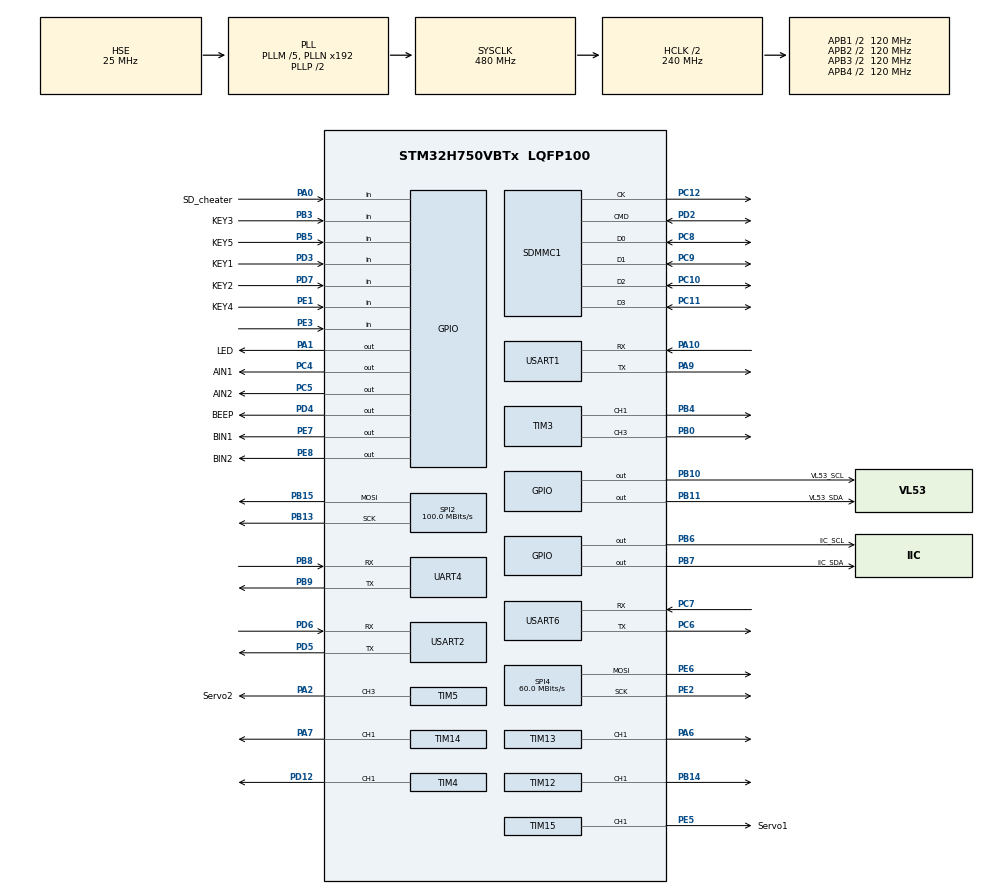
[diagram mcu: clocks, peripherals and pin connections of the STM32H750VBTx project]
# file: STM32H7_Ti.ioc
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Dma.Request0=USART2_RX
Dma.Request1=USART1_RX
Dma.Request2=UART4_RX
Dma.UART4_RX.2.Direction=DMA_PERIPH_TO_MEMORY
Dma.UART4_RX.2.EventEnable=DISABLE
Dma.UART4_RX.2.FIFOMode=DMA_FIFOMODE_DISABLE
Dma.UART4_RX.2.Instance=DMA1_Stream1
Dma.UART4_RX.2.MemDataAlignment=DMA_MDATAALIGN_BYTE
Dma.UART4_RX.2.MemInc=DMA_MINC_ENABLE
Dma.UART4_RX.2.Mode=DMA_CIRCULAR
Dma.UART4_RX.2.PeriphDataAlignment=DMA_PDATAALIGN_BYTE
Dma.UART4_RX.2.PeriphInc=DMA_PINC_DISABLE
Dma.UART4_RX.2.Polarity=HAL_DMAMUX_REQ_GEN_RISING
Dma.UART4_RX.2.Priority=DMA_PRIORITY_LOW
Dma.UART4_RX.2.RequestNumber=1
Dma.UART4_RX.2.SignalID=NONE
Dma.UART4_RX.2.SyncEnable=DISABLE
Dma.UART4_RX.2.SyncPolarity=HAL_DMAMUX_SYNC_NO_EVENT
Dma.UART4_RX.2.SyncRequestNumber=1
Dma.UART4_RX.2.SyncSignalID=NONE
Dma.USART1_RX.1.Direction=DMA_PERIPH_TO_MEMORY
Dma.USART1_RX.1.EventEnable=DISABLE
Dma.USART1_RX.1.FIFOMode=DMA_FIFOMODE_DISABLE
Dma.USART1_RX.1.Instance=DMA1_Stream0
Dma.USART1_RX.1.MemDataAlignment=DMA_MDATAALIGN_BYTE
Dma.USART1_RX.1.MemInc=DMA_MINC_ENABLE
Dma.USART1_RX.1.Mode=DMA_CIRCULAR
Dma.USART1_RX.1.PeriphDataAlignment=DMA_PDATAALIGN_BYTE
Dma.USART1_RX.1.PeriphInc=DMA_PINC_DISABLE
Dma.USART1_RX.1.Polarity=HAL_DMAMUX_REQ_GEN_RISING
Dma.USART1_RX.1.Priority=DMA_PRIORITY_HIGH
Dma.USART1_RX.1.RequestNumber=1
Dma.USART1_RX.1.SignalID=NONE
Dma.USART1_RX.1.SyncEnable=DISABLE
Dma.USART1_RX.1.SyncPolarity=HAL_DMAMUX_SYNC_NO_EVENT
Dma.USART1_RX.1.SyncRequestNumber=1
Dma.USART1_RX.1.SyncSignalID=NONE
Dma.USART2_RX.0.Direction=DMA_PERIPH_TO_MEMORY
Dma.USART2_RX.0.EventEnable=DISABLE
Dma.USART2_RX.0.FIFOMode=DMA_FIFOMODE_DISABLE
Dma.USART2_RX.0.Instance=DMA1_Stream2
Dma.USART2_RX.0.MemDataAlignment=DMA_MDATAALIGN_BYTE
Dma.USART2_RX.0.MemInc=DMA_MINC_ENABLE
Dma.USART2_RX.0.Mode=DMA_NORMAL
Dma.USART2_RX.0.PeriphDataAlignment=DMA_PDATAALIGN_BYTE
Dma.USART2_RX.0.PeriphInc=DMA_PINC_DISABLE
Dma.USART2_RX.0.Polarity=HAL_DMAMUX_REQ_GEN_RISING
Dma.USART2_RX.0.Priority=DMA_PRIORITY_LOW
Dma.USART2_RX.0.RequestNumber=1
Dma.USART2_RX.0.SignalID=NONE
Dma.USART2_RX.0.SyncEnable=DISABLE
Dma.USART2_RX.0.SyncPolarity=HAL_DMAMUX_SYNC_NO_EVENT
Dma.USART2_RX.0.SyncRequestNumber=1
Dma.USART2_RX.0.SyncSignalID=NONE
FATFS.BSP.number=1
FATFS._FS_EXFAT=1
FATFS._FS_TIMEOUT=300
FATFS._USE_LFN=3
FATFS0.BSP.STBoard=false
FATFS0.BSP.api=Unknown
FATFS0.BSP.instance=PA0
FATFS0.BSP.ip=GPIO
FATFS0.BSP.mode=Input
FATFS0.BSP.name=Detect_SDIO
FATFS0.BSP.solution=PA0
FREERTOS.Tasks01=defaultTask,0,256,StartDefaultTask,Default,NULL,Dynamic,NULL,NULL
FREERTOS.configENABLE_FPU=1
FREERTOS.configLIBRARY_MAX_SYSCALL_INTERRUPT_PRIORITY=5
FREERTOS.configMAX_PRIORITIES=10
FREERTOS.configMINIMAL_STACK_SIZE=256
FREERTOS.configTOTAL_HEAP_SIZE=81920
FREERTOS.configUSE_NEWLIB_REENTRANT=1
FREERTOS.configUSE_TICK_HOOK=1
Mcu.Family=STM32H7
Mcu.Name=STM32H750VBTx
Mcu.Package=LQFP100
Mdma.MDMA_Channel0.Request0=SDMMC1_END_DATA
Mdma.MDMA_Channel0.RequestsNb=1
Mdma.MDMA_Channel0.SDMMC1_END_DATA.0.BlockCount=0
Mdma.MDMA_Channel0.SDMMC1_END_DATA.0.BlockDataLength=0
Mdma.MDMA_Channel0.SDMMC1_END_DATA.0.BufferTransferLength=1
Mdma.MDMA_Channel0.SDMMC1_END_DATA.0.CircularMode=MDMA_LINEAR_LIST
Mdma.MDMA_Channel0.SDMMC1_END_DATA.0.DataAlignment=MDMA_DATAALIGN_PACKENABLE
Mdma.MDMA_Channel0.SDMMC1_END_DATA.0.DestBlockAddressOffset=0
Mdma.MDMA_Channel0.SDMMC1_END_DATA.0.DestBurst=MDMA_DEST_BURST_SINGLE
Mdma.MDMA_Channel0.SDMMC1_END_DATA.0.DestDataSize=MDMA_DEST_DATASIZE_BYTE
Mdma.MDMA_Channel0.SDMMC1_END_DATA.0.DestinationInc=MDMA_DEST_INC_BYTE
Mdma.MDMA_Channel0.SDMMC1_END_DATA.0.DstAddress=0
Mdma.MDMA_Channel0.SDMMC1_END_DATA.0.Endianness=MDMA_LITTLE_ENDIANNESS_PRESERVE
Mdma.MDMA_Channel0.SDMMC1_END_DATA.0.Instance=MDMA_Channel0
Mdma.MDMA_Channel0.SDMMC1_END_DATA.0.MaskAddress=0
Mdma.MDMA_Channel0.SDMMC1_END_DATA.0.MaskData=0
Mdma.MDMA_Channel0.SDMMC1_END_DATA.0.Priority=MDMA_PRIORITY_LOW
Mdma.MDMA_Channel0.SDMMC1_END_DATA.0.Rank=First
Mdma.MDMA_Channel0.SDMMC1_END_DATA.0.SourceBlockAddressOffset=0
Mdma.MDMA_Channel0.SDMMC1_END_DATA.0.SourceBurst=MDMA_SOURCE_BURST_SINGLE
Mdma.MDMA_Channel0.SDMMC1_END_DATA.0.SourceDataSize=MDMA_SRC_DATASIZE_BYTE
Mdma.MDMA_Channel0.SDMMC1_END_DATA.0.SourceInc=MDMA_SRC_INC_BYTE
Mdma.MDMA_Channel0.SDMMC1_END_DATA.0.SrcAddress=0
Mdma.MDMA_Channel0.SDMMC1_END_DATA.0.TransferTriggerMode=MDMA_BUFFER_TRANSFER
Mdma.RequestSet0=MDMA_Channel0
Mdma.RequestSetsNb=1
NVIC.DMA1_Stream0_IRQn=true\:5\:0\:false\:false\:true\:true\:false\:true\:true
NVIC.DMA1_Stream1_IRQn=true\:5\:0\:false\:false\:true\:true\:false\:true\:true
NVIC.DMA1_Stream2_IRQn=true\:5\:0\:false\:false\:true\:true\:false\:true\:true
NVIC.MDMA_IRQn=true\:6\:0\:true\:false\:true\:true\:true\:true\:true
NVIC.PriorityGroup=NVIC_PRIORITYGROUP_4
NVIC.SDMMC1_IRQn=true\:7\:0\:true\:false\:true\:true\:true\:true\:true
PA0.GPIO_Label=SD_cheater
PA0.GPIO_PuPd=GPIO_PULLDOWN
PA0.Signal=GPIO_Input
PA1.GPIO_Label=LED
PA1.GPIO_PuPd=GPIO_NOPULL
PA1.PinState=GPIO_PIN_SET
PA1.Signal=GPIO_Output
PA10.Mode=Asynchronous
PA10.Signal=USART1_RX
PA13\ (JTMS/SWDIO).Mode=Serial_Wire
PA13\ (JTMS/SWDIO).Signal=DEBUG_JTMS-SWDIO
PA14\ (JTCK/SWCLK).Mode=Serial_Wire
PA14\ (JTCK/SWCLK).Signal=DEBUG_JTCK-SWCLK
PA2.GPIO_Label=Servo2
PA2.Signal=S_TIM5_CH3
PA6.Signal=S_TIM13_CH1
PA7.Signal=S_TIM14_CH1
PA9.Mode=Asynchronous
PA9.Signal=USART1_TX
PB0.Signal=S_TIM3_CH3
PB10.GPIO_Label=VL53_SCL
PB10.GPIO_ModeDefaultOutputPP=GPIO_MODE_OUTPUT_OD
PB10.GPIO_PuPd=GPIO_PULLUP
PB10.GPIO_Speed=GPIO_SPEED_FREQ_HIGH
PB10.Signal=GPIO_Output
PB11.GPIO_Label=VL53_SDA
PB11.GPIO_ModeDefaultOutputPP=GPIO_MODE_OUTPUT_OD
PB11.GPIO_PuPd=GPIO_PULLUP
PB11.GPIO_Speed=GPIO_SPEED_FREQ_HIGH
PB11.Signal=GPIO_Output
PB13.Mode=TX_Only_Simplex_Unidirect_Master
PB13.Signal=SPI2_SCK
PB14.Signal=S_TIM12_CH1
PB15.Mode=TX_Only_Simplex_Unidirect_Master
PB15.Signal=SPI2_MOSI
PB3\ (JTDO/TRACESWO).GPIO_Label=KEY3
PB3\ (JTDO/TRACESWO).GPIO_PuPd=GPIO_PULLUP
PB3\ (JTDO/TRACESWO).Signal=GPIO_Input
PB4\ (NJTRST).Signal=S_TIM3_CH1
PB5.GPIO_Label=KEY5
PB5.GPIO_PuPd=GPIO_PULLUP
PB5.Signal=GPIO_Input
PB6.GPIO_Label=IIC_SCL
PB6.Signal=GPIO_Output
PB7.GPIO_Label=IIC_SDA
PB7.Signal=GPIO_Output
PB8.Mode=Asynchronous
PB8.Signal=UART4_RX
PB9.Mode=Asynchronous
PB9.Signal=UART4_TX
PC10.Mode=SD_4_bits_Wide_bus
PC10.Signal=SDMMC1_D2
PC11.Mode=SD_4_bits_Wide_bus
PC11.Signal=SDMMC1_D3
PC12.GPIO_PuPd=GPIO_PULLUP
PC12.Mode=SD_4_bits_Wide_bus
PC12.Signal=SDMMC1_CK
PC4.GPIO_Label=AIN1
PC4.Signal=GPIO_Output
PC5.GPIO_Label=AIN2
PC5.Signal=GPIO_Output
PC6.Mode=Asynchronous
PC6.Signal=USART6_TX
PC7.Mode=Asynchronous
PC7.Signal=USART6_RX
PC8.GPIO_PuPd=GPIO_PULLUP
PC8.Mode=SD_4_bits_Wide_bus
PC8.Signal=SDMMC1_D0
PC9.Mode=SD_4_bits_Wide_bus
PC9.Signal=SDMMC1_D1
PD12.Signal=S_TIM4_CH1
PD2.GPIO_PuPd=GPIO_PULLUP
PD2.Mode=SD_4_bits_Wide_bus
PD2.Signal=SDMMC1_CMD
PD3.GPIO_Label=KEY1
PD3.GPIO_PuPd=GPIO_PULLUP
PD3.Signal=GPIO_Input
PD4.GPIO_Label=BEEP
PD4.Signal=GPIO_Output
PD5.Mode=Asynchronous
PD5.Signal=USART2_TX
PD6.Mode=Asynchronous
PD6.Signal=USART2_RX
PD7.GPIO_Label=KEY2
PD7.GPIO_PuPd=GPIO_PULLUP
PD7.Signal=GPIO_Input
PE1.GPIO_Label=KEY4
PE1.GPIO_PuPd=GPIO_PULLUP
PE1.Signal=GPIO_Input
PE2.Mode=TX_Only_Simplex_Unidirect_Master
PE2.Signal=SPI4_SCK
PE3.Signal=GPIO_Input
PE5.GPIO_Label=Servo1
PE5.Signal=S_TIM15_CH1
PE6.Mode=TX_Only_Simplex_Unidirect_Master
PE6.Signal=SPI4_MOSI
PE7.GPIO_Label=BIN1
PE7.Signal=GPIO_Output
PE8.GPIO_Label=BIN2
PE8.Signal=GPIO_Output
PH0-OSC_IN\ (PH0).Mode=HSE-External-Oscillator
PH0-OSC_IN\ (PH0).Signal=RCC_OSC_IN
PH1-OSC_OUT\ (PH1).Mode=HSE-External-Oscillator
PH1-OSC_OUT\ (PH1).Signal=RCC_OSC_OUT
ProjectManager.HeapSize=0x4000
ProjectManager.StackSize=0x4000
ProjectManager.TargetToolchain=STM32CubeIDE
RCC.ADCFreq_Value=200000000
RCC.APB1Freq_Value=120000000
RCC.APB2Freq_Value=120000000
RCC.APB3Freq_Value=120000000
RCC.APB4Freq_Value=120000000
RCC.CortexFreq_Value=480000000
RCC.D1PPRE=RCC_APB3_DIV2
RCC.D2PPRE1=RCC_APB1_DIV2
RCC.D2PPRE2=RCC_APB2_DIV2
RCC.D3PPRE=RCC_APB4_DIV2
RCC.DATA_CACHE_ENABLE=0
RCC.DIVM1=5
RCC.DIVM2=8
RCC.DIVM3=8
RCC.DIVN1=192
RCC.DIVN2=128
RCC.DIVN3=128
RCC.DIVR1=4
RCC.HCLKFreq_Value=240000000
RCC.HPRE=RCC_HCLK_DIV2
RCC.HSE_VALUE=25000000
RCC.INSTRUCTION_CACHE_ENABLE=0
RCC.PLL1_VCI_Range-AdvancedSettings=RCC_PLL1VCIRANGE_0
RCC.PLL2_VCI_Range-AdvancedSettings=RCC_PLL2VCIRANGE_0
RCC.PLLSourceVirtual=RCC_PLLSOURCE_HSE
RCC.PREFETCH_ENABLE=1
RCC.ProductRev=revV
RCC.SDMMC1CLockSelection=RCC_SDMMCCLKSOURCE_PLL2
RCC.SPI123CLockSelection=RCC_SPI123CLKSOURCE_PLL2
RCC.SYSCLKFreq_VALUE=480000000
RCC.SYSCLKSource=RCC_SYSCLKSOURCE_PLLCLK
RCC.USART16CLockSelection=RCC_USART16CLKSOURCE_HSI
RCC.USBCLockSelection=RCC_USBCLKSOURCE_HSI48
RCC.USBFreq_Value=48000000
SDMMC1.ClockDiv=0
SDMMC1.HardwareFlowControl=SDMMC_HARDWARE_FLOW_CONTROL_DISABLE
SH.S_TIM12_CH1.0=TIM12_CH1,PWM Generation1 CH1
SH.S_TIM13_CH1.0=TIM13_CH1,PWM Generation1 CH1
SH.S_TIM14_CH1.0=TIM14_CH1,PWM Generation1 CH1
SH.S_TIM15_CH1.0=TIM15_CH1,PWM Generation1 CH1
SH.S_TIM3_CH1.0=TIM3_CH1,PWM Generation1 CH1
SH.S_TIM3_CH3.0=TIM3_CH3,PWM Generation3 CH3
SH.S_TIM4_CH1.0=TIM4_CH1,PWM Generation1 CH1
SH.S_TIM5_CH3.0=TIM5_CH3,PWM Generation3 CH3
SPI2.CalculateBaudRate=100.0 MBits/s
SPI2.Direction=SPI_DIRECTION_2LINES_TXONLY
SPI2.Mode=SPI_MODE_MASTER
SPI2.VirtualType=VM_MASTER
SPI4.CalculateBaudRate=60.0 MBits/s
SPI4.Direction=SPI_DIRECTION_2LINES_TXONLY
SPI4.Mode=SPI_MODE_MASTER
SPI4.VirtualType=VM_MASTER
TIM12.Channel-PWM\ Generation1\ CH1=TIM_CHANNEL_1
TIM13.Channel=TIM_CHANNEL_1
TIM14.Channel=TIM_CHANNEL_1
TIM15.Channel-PWM\ Generation1\ CH1=TIM_CHANNEL_1
TIM15.Period=20000-1
TIM15.Prescaler=60-1
TIM3.Channel-PWM\ Generation1\ CH1=TIM_CHANNEL_1
TIM3.Channel-PWM\ Generation3\ CH3=TIM_CHANNEL_3
TIM4.Channel-PWM\ Generation1\ CH1=TIM_CHANNEL_1
TIM5.Channel-PWM\ Generation3\ CH3=TIM_CHANNEL_3
TIM5.Period=200000-1
TIM5.Prescaler=6-1
USART1.VirtualMode-Asynchronous=VM_ASYNC
USART2.VirtualMode-Asynchronous=VM_ASYNC
USART6.VirtualMode=VM_ASYNC
VP_CRC_VS_CRC.Mode=CRC_Activate
VP_FATFS_VS_SDIO.Mode=SDIO
VP_FREERTOS_VS_CMSIS_V1.Mode=CMSIS_V1
VP_TIM13_VS_ClockSourceINT.Mode=Enable_Timer
VP_TIM14_VS_ClockSourceINT.Mode=Enable_Timer
board=custom

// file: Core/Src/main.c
/* USER CODE BEGIN Header */
/**
  ******************************************************************************
  * @file           : main.c
  * @brief          : Main program body
  ******************************************************************************
  * @attention
  *
  * Copyright (c) 2023 STMicroelectronics.
  * All rights reserved.
  *
  * This software is licensed under terms that can be found in the LICENSE file
  * in the root directory of tprintMutex = xSemaphoreCreateMutex();his software component.
  * If no LICENSE file comes with this software, it is provided AS-IS.
  *
  ******************************************************************************
  */
/* USER CODE END Header */
#include "main.h"
#include "cmsis_os.h"
#include "fatfs.h"

CRC_HandleTypeDef hcrc;

SD_HandleTypeDef hsd1;

SPI_HandleTypeDef hspi2;
SPI_HandleTypeDef hspi4;

TIM_HandleTypeDef htim3;
TIM_HandleTypeDef htim4;
TIM_HandleTypeDef htim5;
TIM_HandleTypeDef htim12;
TIM_HandleTypeDef htim13;
TIM_HandleTypeDef htim14;
TIM_HandleTypeDef htim15;

UART_HandleTypeDef huart4;
UART_HandleTypeDef huart1;
UART_HandleTypeDef huart2;
UART_HandleTypeDef huart6;
DMA_HandleTypeDef hdma_uart4_rx;
DMA_HandleTypeDef hdma_usart1_rx;
DMA_HandleTypeDef hdma_usart2_rx;

MDMA_HandleTypeDef hmdma_mdma_channel40_sdmmc1_end_data_0;
osThreadId defaultTaskHandle;
/* USER CODE BEGIN PV */

osMutexDef(printfMutex);
osMutexId printfMutex;
osMutexDef(SPI1Mutex);
osMutexId SPI1Mutex;
/* USER CODE END PV */

void SystemClock_Config(void);
void PeriphCommonClock_Config(void);
static void MX_GPIO_Init(void);
static void MX_MDMA_Init(void);
static void MX_DMA_Init(void);
static void MX_SDMMC1_SD_Init(void);
static void MX_CRC_Init(void);
static void MX_TIM3_Init(void);
static void MX_TIM4_Init(void);
static void MX_SPI2_Init(void);
static void MX_SPI4_Init(void);
static void MX_TIM5_Init(void);
static void MX_TIM12_Init(void);
static void MX_TIM13_Init(void);
static void MX_TIM14_Init(void);
static void MX_UART4_Init(void);
static void MX_USART2_UART_Init(void);
static void MX_USART6_UART_Init(void);
static void MX_USART1_UART_Init(void);
static void MX_TIM15_Init(void);
void StartDefaultTask(void const * argument);

/* USER CODE BEGIN PFP */
void LEDBlink(void const *argument);

void ReceiveTask(void const *argument);

void ServoControlTask(void const *argument);

void ButtonTask(void const *argument);

void BEEPLEDTask(void const *argument);

/* USER CODE END PFP */

/* USER CODE BEGIN 0 */
osThreadDef(LEDBlink, LEDBlink, osPriorityNormal, 0, 128 * 2);
osThreadId LEDBlinkHandle;
osThreadDef(ReceiveTask, ReceiveTask, osPriorityAboveNormal, 0, 2048);
osThreadId ReceiveTaskHandle;
osThreadDef(ServoControlTask, ServoControlTask, osPriorityHigh, 0, 1024);
osThreadId ServoControlTaskHandle;
osThreadDef(ButtonTask, ButtonTask, osPriorityHigh, 0, 512);
osThreadId ButtonTaskHandle;
osThreadDef(BEEPLEDTask, BEEPLEDTask, osPriorityNormal, 0, 512);
osThreadId BEEPLEDTaskHandle;

void LEDBlink(void const *argument) {

    for (;;) {

        HAL_GPIO_TogglePin(LED_GPIO_Port, LED_Pin);
        osDelay(500);
    }
}

/* USER CODE END 0 */

int main(void)
{

  /* MCU Configuration--------------------------------------------------------*/

  /* Reset of all peripherals, Initializes the Flash interface and the Systick. */
  HAL_Init();

  /* Configure the system clock */
  SystemClock_Config();

/* Configure the peripherals common clocks */
  PeriphCommonClock_Config();

  /* Initialize all configured peripherals */
  MX_GPIO_Init();
  MX_MDMA_Init();
  MX_DMA_Init();
  MX_FATFS_Init();
  MX_SDMMC1_SD_Init();
  MX_CRC_Init();
  MX_TIM3_Init();
  MX_TIM4_Init();
  MX_SPI2_Init();
  MX_SPI4_Init();
  MX_TIM5_Init();
  MX_TIM12_Init();
  MX_TIM13_Init();
  MX_TIM14_Init();
  MX_UART4_Init();
  MX_USART2_UART_Init();
  MX_USART6_UART_Init();
  MX_USART1_UART_Init();
  MX_TIM15_Init();

  /* USER CODE BEGIN RTOS_MUTEX */
    /* add mutexes, ... */
    printfMutex = osMutexCreate(osMutex(printfMutex));
    SPI1Mutex = osMutexCreate(osMutex(SPI1Mutex));
  /* USER CODE END RTOS_MUTEX */

  /* Create the thread(s) */
  /* definition and creation of defaultTask */
  osThreadDef(defaultTask, StartDefaultTask, osPriorityNormal, 0, 256);
  defaultTaskHandle = osThreadCreate(osThread(defaultTask), NULL);

  /* Start scheduler */
  osKernelStart();
  /* We should never get here as control is now taken by the scheduler */
  /* Infinite loop */
    while (1) {

    }
}

void SystemClock_Config(void)
{
  RCC_OscInitTypeDef RCC_OscInitStruct = {0};
  RCC_ClkInitTypeDef RCC_ClkInitStruct = {0};

  /** Supply configuration update enable
  */
  HAL_PWREx_ConfigSupply(PWR_LDO_SUPPLY);

  /** Configure the main internal regulator output voltage
  */
  __HAL_PWR_VOLTAGESCALING_CONFIG(PWR_REGULATOR_VOLTAGE_SCALE1);

  while(!__HAL_PWR_GET_FLAG(PWR_FLAG_VOSRDY)) {}

  __HAL_RCC_SYSCFG_CLK_ENABLE();
  __HAL_PWR_VOLTAGESCALING_CONFIG(PWR_REGULATOR_VOLTAGE_SCALE0);

  while(!__HAL_PWR_GET_FLAG(PWR_FLAG_VOSRDY)) {}

  /** Initializes the RCC Oscillators according to the specified parameters
  * in the RCC_OscInitTypeDef structure.
  */
  RCC_OscInitStruct.OscillatorType = RCC_OSCILLATORTYPE_HSI|RCC_OSCILLATORTYPE_HSE;
  RCC_OscInitStruct.HSEState = RCC_HSE_ON;
  RCC_OscInitStruct.HSIState = RCC_HSI_DIV1;
  RCC_OscInitStruct.HSICalibrationValue = RCC_HSICALIBRATION_DEFAULT;
  RCC_OscInitStruct.PLL.PLLState = RCC_PLL_ON;
  RCC_OscInitStruct.PLL.PLLSource = RCC_PLLSOURCE_HSE;
  RCC_OscInitStruct.PLL.PLLM = 5;
  RCC_OscInitStruct.PLL.PLLN = 192;
  RCC_OscInitStruct.PLL.PLLP = 2;
  RCC_OscInitStruct.PLL.PLLQ = 2;
  RCC_OscInitStruct.PLL.PLLR = 4;
  RCC_OscInitStruct.PLL.PLLRGE = RCC_PLL1VCIRANGE_2;
  RCC_OscInitStruct.PLL.PLLVCOSEL = RCC_PLL1VCOWIDE;
  RCC_OscInitStruct.PLL.PLLFRACN = 0;
  if (HAL_RCC_OscConfig(&RCC_OscInitStruct) != HAL_OK)
  {
    Error_Handler();
  }

  /** Initializes the CPU, AHB and APB buses clocks
  */
  RCC_ClkInitStruct.ClockType = RCC_CLOCKTYPE_HCLK|RCC_CLOCKTYPE_SYSCLK
                              |RCC_CLOCKTYPE_PCLK1|RCC_CLOCKTYPE_PCLK2
                              |RCC_CLOCKTYPE_D3PCLK1|RCC_CLOCKTYPE_D1PCLK1;
  RCC_ClkInitStruct.SYSCLKSource = RCC_SYSCLKSOURCE_PLLCLK;
  RCC_ClkInitStruct.SYSCLKDivider = RCC_SYSCLK_DIV1;
  RCC_ClkInitStruct.AHBCLKDivider = RCC_HCLK_DIV2;
  RCC_ClkInitStruct.APB3CLKDivider = RCC_APB3_DIV2;
  RCC_ClkInitStruct.APB1CLKDivider = RCC_APB1_DIV2;
  RCC_ClkInitStruct.APB2CLKDivider = RCC_APB2_DIV2;
  RCC_ClkInitStruct.APB4CLKDivider = RCC_APB4_DIV2;

  if (HAL_RCC_ClockConfig(&RCC_ClkInitStruct, FLASH_LATENCY_4) != HAL_OK)
  {
    Error_Handler();
  }
}

void PeriphCommonClock_Config(void)
{
  RCC_PeriphCLKInitTypeDef PeriphClkInitStruct = {0};

  /** Initializes the peripherals clock
  */
  PeriphClkInitStruct.PeriphClockSelection = RCC_PERIPHCLK_SDMMC|RCC_PERIPHCLK_SPI2;
  PeriphClkInitStruct.PLL2.PLL2M = 8;
  PeriphClkInitStruct.PLL2.PLL2N = 128;
  PeriphClkInitStruct.PLL2.PLL2P = 2;
  PeriphClkInitStruct.PLL2.PLL2Q = 2;
  PeriphClkInitStruct.PLL2.PLL2R = 2;
  PeriphClkInitStruct.PLL2.PLL2RGE = RCC_PLL2VCIRANGE_1;
  PeriphClkInitStruct.PLL2.PLL2VCOSEL = RCC_PLL2VCOWIDE;
  PeriphClkInitStruct.PLL2.PLL2FRACN = 0;
  PeriphClkInitStruct.SdmmcClockSelection = RCC_SDMMCCLKSOURCE_PLL2;
  PeriphClkInitStruct.Spi123ClockSelection = RCC_SPI123CLKSOURCE_PLL2;
  if (HAL_RCCEx_PeriphCLKConfig(&PeriphClkInitStruct) != HAL_OK)
  {
    Error_Handler();
  }
}

static void MX_CRC_Init(void)
{

  hcrc.Instance = CRC;
  hcrc.Init.DefaultPolynomialUse = DEFAULT_POLYNOMIAL_ENABLE;
  hcrc.Init.DefaultInitValueUse = DEFAULT_INIT_VALUE_ENABLE;
  hcrc.Init.InputDataInversionMode = CRC_INPUTDATA_INVERSION_NONE;
  hcrc.Init.OutputDataInversionMode = CRC_OUTPUTDATA_INVERSION_DISABLE;
  hcrc.InputDataFormat = CRC_INPUTDATA_FORMAT_BYTES;
  if (HAL_CRC_Init(&hcrc) != HAL_OK)
  {
    Error_Handler();
  }

}

static void MX_SDMMC1_SD_Init(void)
{

  hsd1.Instance = SDMMC1;
  hsd1.Init.ClockEdge = SDMMC_CLOCK_EDGE_RISING;
  hsd1.Init.ClockPowerSave = SDMMC_CLOCK_POWER_SAVE_DISABLE;
  hsd1.Init.BusWide = SDMMC_BUS_WIDE_4B;
  hsd1.Init.HardwareFlowControl = SDMMC_HARDWARE_FLOW_CONTROL_DISABLE;
  hsd1.Init.ClockDiv = 0;

}

static void MX_SPI2_Init(void)
{

  /* SPI2 parameter configuration*/
  hspi2.Instance = SPI2;
  hspi2.Init.Mode = SPI_MODE_MASTER;
  hspi2.Init.Direction = SPI_DIRECTION_2LINES_TXONLY;
  hspi2.Init.DataSize = SPI_DATASIZE_4BIT;
  hspi2.Init.CLKPolarity = SPI_POLARITY_LOW;
  hspi2.Init.CLKPhase = SPI_PHASE_1EDGE;
  hspi2.Init.NSS = SPI_NSS_SOFT;
  hspi2.Init.BaudRatePrescaler = SPI_BAUDRATEPRESCALER_2;
  hspi2.Init.FirstBit = SPI_FIRSTBIT_MSB;
  hspi2.Init.TIMode = SPI_TIMODE_DISABLE;
  hspi2.Init.CRCCalculation = SPI_CRCCALCULATION_DISABLE;
  hspi2.Init.CRCPolynomial = 0x0;
  hspi2.Init.NSSPMode = SPI_NSS_PULSE_ENABLE;
  hspi2.Init.NSSPolarity = SPI_NSS_POLARITY_LOW;
  hspi2.Init.FifoThreshold = SPI_FIFO_THRESHOLD_01DATA;
  hspi2.Init.TxCRCInitializationPattern = SPI_CRC_INITIALIZATION_ALL_ZERO_PATTERN;
  hspi2.Init.RxCRCInitializationPattern = SPI_CRC_INITIALIZATION_ALL_ZERO_PATTERN;
  hspi2.Init.MasterSSIdleness = SPI_MASTER_SS_IDLENESS_00CYCLE;
  hspi2.Init.MasterInterDataIdleness = SPI_MASTER_INTERDATA_IDLENESS_00CYCLE;
  hspi2.Init.MasterReceiverAutoSusp = SPI_MASTER_RX_AUTOSUSP_DISABLE;
  hspi2.Init.MasterKeepIOState = SPI_MASTER_KEEP_IO_STATE_DISABLE;
  hspi2.Init.IOSwap = SPI_IO_SWAP_DISABLE;
  if (HAL_SPI_Init(&hspi2) != HAL_OK)
  {
    Error_Handler();
  }

}

static void MX_SPI4_Init(void)
{

  /* SPI4 parameter configuration*/
  hspi4.Instance = SPI4;
  hspi4.Init.Mode = SPI_MODE_MASTER;
  hspi4.Init.Direction = SPI_DIRECTION_2LINES_TXONLY;
  hspi4.Init.DataSize = SPI_DATASIZE_4BIT;
  hspi4.Init.CLKPolarity = SPI_POLARITY_LOW;
  hspi4.Init.CLKPhase = SPI_PHASE_1EDGE;
  hspi4.Init.NSS = SPI_NSS_SOFT;
  hspi4.Init.BaudRatePrescaler = SPI_BAUDRATEPRESCALER_2;
  hspi4.Init.FirstBit = SPI_FIRSTBIT_MSB;
  hspi4.Init.TIMode = SPI_TIMODE_DISABLE;
  hspi4.Init.CRCCalculation = SPI_CRCCALCULATION_DISABLE;
  hspi4.Init.CRCPolynomial = 0x0;
  hspi4.Init.NSSPMode = SPI_NSS_PULSE_ENABLE;
  hspi4.Init.NSSPolarity = SPI_NSS_POLARITY_LOW;
  hspi4.Init.FifoThreshold = SPI_FIFO_THRESHOLD_01DATA;
  hspi4.Init.TxCRCInitializationPattern = SPI_CRC_INITIALIZATION_ALL_ZERO_PATTERN;
  hspi4.Init.RxCRCInitializationPattern = SPI_CRC_INITIALIZATION_ALL_ZERO_PATTERN;
  hspi4.Init.MasterSSIdleness = SPI_MASTER_SS_IDLENESS_00CYCLE;
  hspi4.Init.MasterInterDataIdleness = SPI_MASTER_INTERDATA_IDLENESS_00CYCLE;
  hspi4.Init.MasterReceiverAutoSusp = SPI_MASTER_RX_AUTOSUSP_DISABLE;
  hspi4.Init.MasterKeepIOState = SPI_MASTER_KEEP_IO_STATE_DISABLE;
  hspi4.Init.IOSwap = SPI_IO_SWAP_DISABLE;
  if (HAL_SPI_Init(&hspi4) != HAL_OK)
  {
    Error_Handler();
  }

}

static void MX_TIM3_Init(void)
{

  TIM_MasterConfigTypeDef sMasterConfig = {0};
  TIM_OC_InitTypeDef sConfigOC = {0};

  htim3.Instance = TIM3;
  htim3.Init.Prescaler = 0;
  htim3.Init.CounterMode = TIM_COUNTERMODE_UP;
  htim3.Init.Period = 65535;
  htim3.Init.ClockDivision = TIM_CLOCKDIVISION_DIV1;
  htim3.Init.AutoReloadPreload = TIM_AUTORELOAD_PRELOAD_DISABLE;
  if (HAL_TIM_PWM_Init(&htim3) != HAL_OK)
  {
    Error_Handler();
  }
  sMasterConfig.MasterOutputTrigger = TIM_TRGO_RESET;
  sMasterConfig.MasterSlaveMode = TIM_MASTERSLAVEMODE_DISABLE;
  if (HAL_TIMEx_MasterConfigSynchronization(&htim3, &sMasterConfig) != HAL_OK)
  {
    Error_Handler();
  }
  sConfigOC.OCMode = TIM_OCMODE_PWM1;
  sConfigOC.Pulse = 0;
  sConfigOC.OCPolarity = TIM_OCPOLARITY_HIGH;
  sConfigOC.OCFastMode = TIM_OCFAST_DISABLE;
  if (HAL_TIM_PWM_ConfigChannel(&htim3, &sConfigOC, TIM_CHANNEL_1) != HAL_OK)
  {
    Error_Handler();
  }
  if (HAL_TIM_PWM_ConfigChannel(&htim3, &sConfigOC, TIM_CHANNEL_3) != HAL_OK)
  {
    Error_Handler();
  }
  HAL_TIM_MspPostInit(&htim3);

}

static void MX_TIM4_Init(void)
{

  TIM_MasterConfigTypeDef sMasterConfig = {0};
  TIM_OC_InitTypeDef sConfigOC = {0};

  htim4.Instance = TIM4;
  htim4.Init.Prescaler = 0;
  htim4.Init.CounterMode = TIM_COUNTERMODE_UP;
  htim4.Init.Period = 65535;
  htim4.Init.ClockDivision = TIM_CLOCKDIVISION_DIV1;
  htim4.Init.AutoReloadPreload = TIM_AUTORELOAD_PRELOAD_DISABLE;
  if (HAL_TIM_PWM_Init(&htim4) != HAL_OK)
  {
    Error_Handler();
  }
  sMasterConfig.MasterOutputTrigger = TIM_TRGO_RESET;
  sMasterConfig.MasterSlaveMode = TIM_MASTERSLAVEMODE_DISABLE;
  if (HAL_TIMEx_MasterConfigSynchronization(&htim4, &sMasterConfig) != HAL_OK)
  {
    Error_Handler();
  }
  sConfigOC.OCMode = TIM_OCMODE_PWM1;
  sConfigOC.Pulse = 0;
  sConfigOC.OCPolarity = TIM_OCPOLARITY_HIGH;
  sConfigOC.OCFastMode = TIM_OCFAST_DISABLE;
  if (HAL_TIM_PWM_ConfigChannel(&htim4, &sConfigOC, TIM_CHANNEL_1) != HAL_OK)
  {
    Error_Handler();
  }
  HAL_TIM_MspPostInit(&htim4);

}

static void MX_TIM5_Init(void)
{

  TIM_MasterConfigTypeDef sMasterConfig = {0};
  TIM_OC_InitTypeDef sConfigOC = {0};

  htim5.Instance = TIM5;
  htim5.Init.Prescaler = 6-1;
  htim5.Init.CounterMode = TIM_COUNTERMODE_UP;
  htim5.Init.Period = 200000-1;
  htim5.Init.ClockDivision = TIM_CLOCKDIVISION_DIV1;
  htim5.Init.AutoReloadPreload = TIM_AUTORELOAD_PRELOAD_DISABLE;
  if (HAL_TIM_PWM_Init(&htim5) != HAL_OK)
  {
    Error_Handler();
  }
  sMasterConfig.MasterOutputTrigger = TIM_TRGO_RESET;
  sMasterConfig.MasterSlaveMode = TIM_MASTERSLAVEMODE_DISABLE;
  if (HAL_TIMEx_MasterConfigSynchronization(&htim5, &sMasterConfig) != HAL_OK)
  {
    Error_Handler();
  }
  sConfigOC.OCMode = TIM_OCMODE_PWM1;
  sConfigOC.Pulse = 0;
  sConfigOC.OCPolarity = TIM_OCPOLARITY_HIGH;
  sConfigOC.OCFastMode = TIM_OCFAST_DISABLE;
  if (HAL_TIM_PWM_ConfigChannel(&htim5, &sConfigOC, TIM_CHANNEL_3) != HAL_OK)
  {
    Error_Handler();
  }
  HAL_TIM_MspPostInit(&htim5);

}

static void MX_TIM12_Init(void)
{

  TIM_MasterConfigTypeDef sMasterConfig = {0};
  TIM_OC_InitTypeDef sConfigOC = {0};

  htim12.Instance = TIM12;
  htim12.Init.Prescaler = 0;
  htim12.Init.CounterMode = TIM_COUNTERMODE_UP;
  htim12.Init.Period = 65535;
  htim12.Init.ClockDivision = TIM_CLOCKDIVISION_DIV1;
  htim12.Init.AutoReloadPreload = TIM_AUTORELOAD_PRELOAD_DISABLE;
  if (HAL_TIM_PWM_Init(&htim12) != HAL_OK)
  {
    Error_Handler();
  }
  sMasterConfig.MasterOutputTrigger = TIM_TRGO_RESET;
  sMasterConfig.MasterSlaveMode = TIM_MASTERSLAVEMODE_DISABLE;
  if (HAL_TIMEx_MasterConfigSynchronization(&htim12, &sMasterConfig) != HAL_OK)
  {
    Error_Handler();
  }
  sConfigOC.OCMode = TIM_OCMODE_PWM1;
  sConfigOC.Pulse = 0;
  sConfigOC.OCPolarity = TIM_OCPOLARITY_HIGH;
  sConfigOC.OCFastMode = TIM_OCFAST_DISABLE;
  if (HAL_TIM_PWM_ConfigChannel(&htim12, &sConfigOC, TIM_CHANNEL_1) != HAL_OK)
  {
    Error_Handler();
  }
  HAL_TIM_MspPostInit(&htim12);

}

static void MX_TIM13_Init(void)
{

  TIM_OC_InitTypeDef sConfigOC = {0};

  htim13.Instance = TIM13;
  htim13.Init.Prescaler = 0;
  htim13.Init.CounterMode = TIM_COUNTERMODE_UP;
  htim13.Init.Period = 65535;
  htim13.Init.ClockDivision = TIM_CLOCKDIVISION_DIV1;
  htim13.Init.AutoReloadPreload = TIM_AUTORELOAD_PRELOAD_DISABLE;
  if (HAL_TIM_Base_Init(&htim13) != HAL_OK)
  {
    Error_Handler();
  }
  if (HAL_TIM_PWM_Init(&htim13) != HAL_OK)
  {
    Error_Handler();
  }
  sConfigOC.OCMode = TIM_OCMODE_PWM1;
  sConfigOC.Pulse = 0;
  sConfigOC.OCPolarity = TIM_OCPOLARITY_HIGH;
  sConfigOC.OCFastMode = TIM_OCFAST_DISABLE;
  if (HAL_TIM_PWM_ConfigChannel(&htim13, &sConfigOC, TIM_CHANNEL_1) != HAL_OK)
  {
    Error_Handler();
  }
  HAL_TIM_MspPostInit(&htim13);

}

static void MX_TIM14_Init(void)
{

  TIM_OC_InitTypeDef sConfigOC = {0};

  htim14.Instance = TIM14;
  htim14.Init.Prescaler = 0;
  htim14.Init.CounterMode = TIM_COUNTERMODE_UP;
  htim14.Init.Period = 65535;
  htim14.Init.ClockDivision = TIM_CLOCKDIVISION_DIV1;
  htim14.Init.AutoReloadPreload = TIM_AUTORELOAD_PRELOAD_DISABLE;
  if (HAL_TIM_Base_Init(&htim14) != HAL_OK)
  {
    Error_Handler();
  }
  if (HAL_TIM_PWM_Init(&htim14) != HAL_OK)
  {
    Error_Handler();
  }
  sConfigOC.OCMode = TIM_OCMODE_PWM1;
  sConfigOC.Pulse = 0;
  sConfigOC.OCPolarity = TIM_OCPOLARITY_HIGH;
  sConfigOC.OCFastMode = TIM_OCFAST_DISABLE;
  if (HAL_TIM_PWM_ConfigChannel(&htim14, &sConfigOC, TIM_CHANNEL_1) != HAL_OK)
  {
    Error_Handler();
  }
  HAL_TIM_MspPostInit(&htim14);

}

static void MX_TIM15_Init(void)
{

  TIM_MasterConfigTypeDef sMasterConfig = {0};
  TIM_OC_InitTypeDef sConfigOC = {0};
  TIM_BreakDeadTimeConfigTypeDef sBreakDeadTimeConfig = {0};

  htim15.Instance = TIM15;
  htim15.Init.Prescaler = 60-1;
  htim15.Init.CounterMode = TIM_COUNTERMODE_UP;
  htim15.Init.Period = 20000-1;
  htim15.Init.ClockDivision = TIM_CLOCKDIVISION_DIV1;
  htim15.Init.RepetitionCounter = 0;
  htim15.Init.AutoReloadPreload = TIM_AUTORELOAD_PRELOAD_DISABLE;
  if (HAL_TIM_PWM_Init(&htim15) != HAL_OK)
  {
    Error_Handler();
  }
  sMasterConfig.MasterOutputTrigger = TIM_TRGO_RESET;
  sMasterConfig.MasterSlaveMode = TIM_MASTERSLAVEMODE_DISABLE;
  if (HAL_TIMEx_MasterConfigSynchronization(&htim15, &sMasterConfig) != HAL_OK)
  {
    Error_Handler();
  }
  sConfigOC.OCMode = TIM_OCMODE_PWM1;
  sConfigOC.Pulse = 0;
  sConfigOC.OCPolarity = TIM_OCPOLARITY_HIGH;
  sConfigOC.OCNPolarity = TIM_OCNPOLARITY_HIGH;
  sConfigOC.OCFastMode = TIM_OCFAST_DISABLE;
  sConfigOC.OCIdleState = TIM_OCIDLESTATE_RESET;
  sConfigOC.OCNIdleState = TIM_OCNIDLESTATE_RESET;
  if (HAL_TIM_PWM_ConfigChannel(&htim15, &sConfigOC, TIM_CHANNEL_1) != HAL_OK)
  {
    Error_Handler();
  }
  sBreakDeadTimeConfig.OffStateRunMode = TIM_OSSR_DISABLE;
  sBreakDeadTimeConfig.OffStateIDLEMode = TIM_OSSI_DISABLE;
  sBreakDeadTimeConfig.LockLevel = TIM_LOCKLEVEL_OFF;
  sBreakDeadTimeConfig.DeadTime = 0;
  sBreakDeadTimeConfig.BreakState = TIM_BREAK_DISABLE;
  sBreakDeadTimeConfig.BreakPolarity = TIM_BREAKPOLARITY_HIGH;
  sBreakDeadTimeConfig.BreakFilter = 0;
  sBreakDeadTimeConfig.AutomaticOutput = TIM_AUTOMATICOUTPUT_DISABLE;
  if (HAL_TIMEx_ConfigBreakDeadTime(&htim15, &sBreakDeadTimeConfig) != HAL_OK)
  {
    Error_Handler();
  }
  HAL_TIM_MspPostInit(&htim15);

}

static void MX_UART4_Init(void)
{

  huart4.Instance = UART4;
  huart4.Init.BaudRate = 115200;
  huart4.Init.WordLength = UART_WORDLENGTH_8B;
  huart4.Init.StopBits = UART_STOPBITS_1;
  huart4.Init.Parity = UART_PARITY_NONE;
  huart4.Init.Mode = UART_MODE_TX_RX;
  huart4.Init.HwFlowCtl = UART_HWCONTROL_NONE;
  huart4.Init.OverSampling = UART_OVERSAMPLING_16;
  huart4.Init.OneBitSampling = UART_ONE_BIT_SAMPLE_DISABLE;
  huart4.Init.ClockPrescaler = UART_PRESCALER_DIV1;
  huart4.AdvancedInit.AdvFeatureInit = UART_ADVFEATURE_NO_INIT;
  if (HAL_UART_Init(&huart4) != HAL_OK)
  {
    Error_Handler();
  }
  if (HAL_UARTEx_SetTxFifoThreshold(&huart4, UART_TXFIFO_THRESHOLD_1_8) != HAL_OK)
  {
    Error_Handler();
  }
  if (HAL_UARTEx_SetRxFifoThreshold(&huart4, UART_RXFIFO_THRESHOLD_1_8) != HAL_OK)
  {
    Error_Handler();
  }
  if (HAL_UARTEx_DisableFifoMode(&huart4) != HAL_OK)
  {
    Error_Handler();
  }

}

static void MX_USART1_UART_Init(void)
{

  huart1.Instance = USART1;
  huart1.Init.BaudRate = 115200;
  huart1.Init.WordLength = UART_WORDLENGTH_8B;
  huart1.Init.StopBits = UART_STOPBITS_1;
  huart1.Init.Parity = UART_PARITY_NONE;
  huart1.Init.Mode = UART_MODE_TX_RX;
  huart1.Init.HwFlowCtl = UART_HWCONTROL_NONE;
  huart1.Init.OverSampling = UART_OVERSAMPLING_16;
  huart1.Init.OneBitSampling = UART_ONE_BIT_SAMPLE_DISABLE;
  huart1.Init.ClockPrescaler = UART_PRESCALER_DIV1;
  huart1.AdvancedInit.AdvFeatureInit = UART_ADVFEATURE_NO_INIT;
  if (HAL_UART_Init(&huart1) != HAL_OK)
  {
    Error_Handler();
  }
  if (HAL_UARTEx_SetTxFifoThreshold(&huart1, UART_TXFIFO_THRESHOLD_1_8) != HAL_OK)
  {
    Error_Handler();
  }
  if (HAL_UARTEx_SetRxFifoThreshold(&huart1, UART_RXFIFO_THRESHOLD_1_8) != HAL_OK)
  {
    Error_Handler();
  }
  if (HAL_UARTEx_DisableFifoMode(&huart1) != HAL_OK)
  {
    Error_Handler();
  }

}

static void MX_USART2_UART_Init(void)
{

  huart2.Instance = USART2;
  huart2.Init.BaudRate = 115200;
  huart2.Init.WordLength = UART_WORDLENGTH_8B;
  huart2.Init.StopBits = UART_STOPBITS_1;
  huart2.Init.Parity = UART_PARITY_NONE;
  huart2.Init.Mode = UART_MODE_TX_RX;
  huart2.Init.HwFlowCtl = UART_HWCONTROL_NONE;
  huart2.Init.OverSampling = UART_OVERSAMPLING_16;
  huart2.Init.OneBitSampling = UART_ONE_BIT_SAMPLE_DISABLE;
  huart2.Init.ClockPrescaler = UART_PRESCALER_DIV1;
  huart2.AdvancedInit.AdvFeatureInit = UART_ADVFEATURE_NO_INIT;
  if (HAL_UART_Init(&huart2) != HAL_OK)
  {
    Error_Handler();
  }
  if (HAL_UARTEx_SetTxFifoThreshold(&huart2, UART_TXFIFO_THRESHOLD_1_8) != HAL_OK)
  {
    Error_Handler();
  }
  if (HAL_UARTEx_SetRxFifoThreshold(&huart2, UART_RXFIFO_THRESHOLD_1_8) != HAL_OK)
  {
    Error_Handler();
  }
  if (HAL_UARTEx_DisableFifoMode(&huart2) != HAL_OK)
  {
    Error_Handler();
  }

}

static void MX_USART6_UART_Init(void)
{

  huart6.Instance = USART6;
  huart6.Init.BaudRate = 115200;
  huart6.Init.WordLength = UART_WORDLENGTH_8B;
  huart6.Init.StopBits = UART_STOPBITS_1;
  huart6.Init.Parity = UART_PARITY_NONE;
  huart6.Init.Mode = UART_MODE_TX_RX;
  huart6.Init.HwFlowCtl = UART_HWCONTROL_NONE;
  huart6.Init.OverSampling = UART_OVERSAMPLING_16;
  huart6.Init.OneBitSampling = UART_ONE_BIT_SAMPLE_DISABLE;
  huart6.Init.ClockPrescaler = UART_PRESCALER_DIV1;
  huart6.AdvancedInit.AdvFeatureInit = UART_ADVFEATURE_NO_INIT;
  if (HAL_UART_Init(&huart6) != HAL_OK)
  {
    Error_Handler();
  }
  if (HAL_UARTEx_SetTxFifoThreshold(&huart6, UART_TXFIFO_THRESHOLD_1_8) != HAL_OK)
  {
    Error_Handler();
  }
  if (HAL_UARTEx_SetRxFifoThreshold(&huart6, UART_RXFIFO_THRESHOLD_1_8) != HAL_OK)
  {
    Error_Handler();
  }
  if (HAL_UARTEx_DisableFifoMode(&huart6) != HAL_OK)
  {
    Error_Handler();
  }

}

static void MX_DMA_Init(void)
{

  /* DMA controller clock enable */
  __HAL_RCC_DMA1_CLK_ENABLE();

  /* DMA interrupt init */
  /* DMA1_Stream0_IRQn interrupt configuration */
  HAL_NVIC_SetPriority(DMA1_Stream0_IRQn, 5, 0);
  HAL_NVIC_EnableIRQ(DMA1_Stream0_IRQn);
  /* DMA1_Stream1_IRQn interrupt configuration */
  HAL_NVIC_SetPriority(DMA1_Stream1_IRQn, 5, 0);
  HAL_NVIC_EnableIRQ(DMA1_Stream1_IRQn);
  /* DMA1_Stream2_IRQn interrupt configuration */
  HAL_NVIC_SetPriority(DMA1_Stream2_IRQn, 5, 0);
  HAL_NVIC_EnableIRQ(DMA1_Stream2_IRQn);

}

/**
  * Enable MDMA controller clock
  * Configure MDMA for global transfers
  *   hmdma_mdma_channel40_sdmmc1_end_data_0
  */
static void MX_MDMA_Init(void)
{

  /* MDMA controller clock enable */
  __HAL_RCC_MDMA_CLK_ENABLE();
  /* Local variables */

  /* Configure MDMA channel MDMA_Channel0 */
  /* Configure MDMA request hmdma_mdma_channel40_sdmmc1_end_data_0 on MDMA_Channel0 */
  hmdma_mdma_channel40_sdmmc1_end_data_0.Instance = MDMA_Channel0;
  hmdma_mdma_channel40_sdmmc1_end_data_0.Init.Request = MDMA_REQUEST_SDMMC1_END_DATA;
  hmdma_mdma_channel40_sdmmc1_end_data_0.Init.TransferTriggerMode = MDMA_BUFFER_TRANSFER;
  hmdma_mdma_channel40_sdmmc1_end_data_0.Init.Priority = MDMA_PRIORITY_LOW;
  hmdma_mdma_channel40_sdmmc1_end_data_0.Init.Endianness = MDMA_LITTLE_ENDIANNESS_PRESERVE;
  hmdma_mdma_channel40_sdmmc1_end_data_0.Init.SourceInc = MDMA_SRC_INC_BYTE;
  hmdma_mdma_channel40_sdmmc1_end_data_0.Init.DestinationInc = MDMA_DEST_INC_BYTE;
  hmdma_mdma_channel40_sdmmc1_end_data_0.Init.SourceDataSize = MDMA_SRC_DATASIZE_BYTE;
  hmdma_mdma_channel40_sdmmc1_end_data_0.Init.DestDataSize = MDMA_DEST_DATASIZE_BYTE;
  hmdma_mdma_channel40_sdmmc1_end_data_0.Init.DataAlignment = MDMA_DATAALIGN_PACKENABLE;
  hmdma_mdma_channel40_sdmmc1_end_data_0.Init.BufferTransferLength = 1;
  hmdma_mdma_channel40_sdmmc1_end_data_0.Init.SourceBurst = MDMA_SOURCE_BURST_SINGLE;
  hmdma_mdma_channel40_sdmmc1_end_data_0.Init.DestBurst = MDMA_DEST_BURST_SINGLE;
  hmdma_mdma_channel40_sdmmc1_end_data_0.Init.SourceBlockAddressOffset = 0;
  hmdma_mdma_channel40_sdmmc1_end_data_0.Init.DestBlockAddressOffset = 0;
  if (HAL_MDMA_Init(&hmdma_mdma_channel40_sdmmc1_end_data_0) != HAL_OK)
  {
    Error_Handler();
  }

  /* Configure post request address and data masks */
  if (HAL_MDMA_ConfigPostRequestMask(&hmdma_mdma_channel40_sdmmc1_end_data_0, 0, 0) != HAL_OK)
  {
    Error_Handler();
  }

  /* MDMA interrupt initialization */
  /* MDMA_IRQn interrupt configuration */
  HAL_NVIC_SetPriority(MDMA_IRQn, 6, 0);
  HAL_NVIC_EnableIRQ(MDMA_IRQn);

}

static void MX_GPIO_Init(void)
{
  GPIO_InitTypeDef GPIO_InitStruct = {0};

  /* GPIO Ports Clock Enable */
  __HAL_RCC_GPIOE_CLK_ENABLE();
  __HAL_RCC_GPIOH_CLK_ENABLE();
  __HAL_RCC_GPIOA_CLK_ENABLE();
  __HAL_RCC_GPIOC_CLK_ENABLE();
  __HAL_RCC_GPIOB_CLK_ENABLE();
  __HAL_RCC_GPIOD_CLK_ENABLE();

  /*Configure GPIO pin Output Level */
  HAL_GPIO_WritePin(LED_GPIO_Port, LED_Pin, GPIO_PIN_SET);

  /*Configure GPIO pin Output Level */
  HAL_GPIO_WritePin(GPIOC, AIN1_Pin|AIN2_Pin, GPIO_PIN_RESET);

  /*Configure GPIO pin Output Level */
  HAL_GPIO_WritePin(GPIOE, BIN1_Pin|BIN2_Pin, GPIO_PIN_RESET);

  /*Configure GPIO pin Output Level */
  HAL_GPIO_WritePin(GPIOB, VL53_SCL_Pin|VL53_SDA_Pin|IIC_SCL_Pin|IIC_SDA_Pin, GPIO_PIN_RESET);

  /*Configure GPIO pin Output Level */
  HAL_GPIO_WritePin(BEEP_GPIO_Port, BEEP_Pin, GPIO_PIN_RESET);

  /*Configure GPIO pin : PE3 */
  GPIO_InitStruct.Pin = GPIO_PIN_3;
  GPIO_InitStruct.Mode = GPIO_MODE_INPUT;
  GPIO_InitStruct.Pull = GPIO_NOPULL;
  HAL_GPIO_Init(GPIOE, &GPIO_InitStruct);

  /*Configure GPIO pin : SD_cheater_Pin */
  GPIO_InitStruct.Pin = SD_cheater_Pin;
  GPIO_InitStruct.Mode = GPIO_MODE_INPUT;
  GPIO_InitStruct.Pull = GPIO_PULLDOWN;
  HAL_GPIO_Init(SD_cheater_GPIO_Port, &GPIO_InitStruct);

  /*Configure GPIO pin : LED_Pin */
  GPIO_InitStruct.Pin = LED_Pin;
  GPIO_InitStruct.Mode = GPIO_MODE_OUTPUT_PP;
  GPIO_InitStruct.Pull = GPIO_NOPULL;
  GPIO_InitStruct.Speed = GPIO_SPEED_FREQ_LOW;
  HAL_GPIO_Init(LED_GPIO_Port, &GPIO_InitStruct);

  /*Configure GPIO pins : AIN1_Pin AIN2_Pin */
  GPIO_InitStruct.Pin = AIN1_Pin|AIN2_Pin;
  GPIO_InitStruct.Mode = GPIO_MODE_OUTPUT_PP;
  GPIO_InitStruct.Pull = GPIO_NOPULL;
  GPIO_InitStruct.Speed = GPIO_SPEED_FREQ_LOW;
  HAL_GPIO_Init(GPIOC, &GPIO_InitStruct);

  /*Configure GPIO pins : BIN1_Pin BIN2_Pin */
  GPIO_InitStruct.Pin = BIN1_Pin|BIN2_Pin;
  GPIO_InitStruct.Mode = GPIO_MODE_OUTPUT_PP;
  GPIO_InitStruct.Pull = GPIO_NOPULL;
  GPIO_InitStruct.Speed = GPIO_SPEED_FREQ_LOW;
  HAL_GPIO_Init(GPIOE, &GPIO_InitStruct);

  /*Configure GPIO pins : VL53_SCL_Pin VL53_SDA_Pin */
  GPIO_InitStruct.Pin = VL53_SCL_Pin|VL53_SDA_Pin;
  GPIO_InitStruct.Mode = GPIO_MODE_OUTPUT_OD;
  GPIO_InitStruct.Pull = GPIO_PULLUP;
  GPIO_InitStruct.Speed = GPIO_SPEED_FREQ_HIGH;
  HAL_GPIO_Init(GPIOB, &GPIO_InitStruct);

  /*Configure GPIO pins : KEY1_Pin KEY2_Pin */
  GPIO_InitStruct.Pin = KEY1_Pin|KEY2_Pin;
  GPIO_InitStruct.Mode = GPIO_MODE_INPUT;
  GPIO_InitStruct.Pull = GPIO_PULLUP;
  HAL_GPIO_Init(GPIOD, &GPIO_InitStruct);

  /*Configure GPIO pin : BEEP_Pin */
  GPIO_InitStruct.Pin = BEEP_Pin;
  GPIO_InitStruct.Mode = GPIO_MODE_OUTPUT_PP;
  GPIO_InitStruct.Pull = GPIO_NOPULL;
  GPIO_InitStruct.Speed = GPIO_SPEED_FREQ_LOW;
  HAL_GPIO_Init(BEEP_GPIO_Port, &GPIO_InitStruct);

  /*Configure GPIO pins : KEY3_Pin KEY5_Pin */
  GPIO_InitStruct.Pin = KEY3_Pin|KEY5_Pin;
  GPIO_InitStruct.Mode = GPIO_MODE_INPUT;
  GPIO_InitStruct.Pull = GPIO_PULLUP;
  HAL_GPIO_Init(GPIOB, &GPIO_InitStruct);

  /*Configure GPIO pins : IIC_SCL_Pin IIC_SDA_Pin */
  GPIO_InitStruct.Pin = IIC_SCL_Pin|IIC_SDA_Pin;
  GPIO_InitStruct.Mode = GPIO_MODE_OUTPUT_PP;
  GPIO_InitStruct.Pull = GPIO_NOPULL;
  GPIO_InitStruct.Speed = GPIO_SPEED_FREQ_LOW;
  HAL_GPIO_Init(GPIOB, &GPIO_InitStruct);

  /*Configure GPIO pin : KEY4_Pin */
  GPIO_InitStruct.Pin = KEY4_Pin;
  GPIO_InitStruct.Mode = GPIO_MODE_INPUT;
  GPIO_InitStruct.Pull = GPIO_PULLUP;
  HAL_GPIO_Init(KEY4_GPIO_Port, &GPIO_InitStruct);

}

void StartDefaultTask(void const * argument)
{
  /* USER CODE BEGIN 5 */

    portENTER_CRITICAL();

    LEDBlinkHandle = osThreadCreate(osThread(LEDBlink), NULL);
    ReceiveTaskHandle = osThreadCreate(osThread(ReceiveTask), NULL);
    ButtonTaskHandle = osThreadCreate(osThread(ButtonTask), NULL);
    ServoControlTaskHandle = osThreadCreate(osThread(ServoControlTask), NULL);

    portEXIT_CRITICAL();

    BEEPLEDTaskHandle = osThreadCreate(osThread(BEEPLEDTask), NULL);
    osThreadSuspend(BEEPLEDTaskHandle);

    Pid_Value_Init();
    ADRC_Init();

    /* Infinite loop */

    for (;;) {
        osDelay(pdMS_TO_TICKS(1000));
    }
  /* USER CODE END 5 */
}

void Error_Handler(void)
{
    __disable_irq();
    while (1) {
    }
}

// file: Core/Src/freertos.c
/* USER CODE BEGIN Header */
/**
  ******************************************************************************
  * File Name          : freertos.c
  * Description        : Code for freertos applications
  ******************************************************************************
  * @attention
  *
  * Copyright (c) 2023 STMicroelectronics.
  * All rights reserved.
  *
  * This software is licensed under terms that can be found in the LICENSE file
  * in the root directory of this software component.
  * If no LICENSE file comes with this software, it is provided AS-IS.
  *
  ******************************************************************************
  */
/* USER CODE END Header */

#include "FreeRTOS.h"
#include "task.h"
#include "main.h"

/* USER CODE BEGIN PD */
#define Motor_debugMod 0
#define MPU_debugMod 0
/* USER CODE END PD */

/* USER CODE BEGIN Variables */
#define USARTBUFFER 30
uint8_t uartBuffer[USARTBUFFER];

float xyControl[2];

/* USER CODE END Variables */

/* GetIdleTaskMemory prototype (linked to static allocation support) */
void vApplicationGetIdleTaskMemory( StaticTask_t **ppxIdleTaskTCBBuffer, StackType_t **ppxIdleTaskStackBuffer, uint32_t *pulIdleTaskStackSize );

/* Hook prototypes */
void vApplicationTickHook(void);

/* USER CODE BEGIN 3 */
__weak void vApplicationTickHook(void) {
    /* This function will be called by each tick interrupt if
    configUSE_TICK_HOOK is set to 1 in FreeRTOSConfig.h. User code can be
    added here, but the tick hook is called from an interrupt context, so
    code must not attempt to block, and only the interrupt safe FreeRTOS API
    functions can be used (those that end in FromISR()). */
}
/* USER CODE END 3 */

/* USER CODE BEGIN GET_IDLE_TASK_MEMORY */
static StaticTask_t xIdleTaskTCBBuffer;
static StackType_t xIdleStack[configMINIMAL_STACK_SIZE];

void vApplicationGetIdleTaskMemory(StaticTask_t **ppxIdleTaskTCBBuffer, StackType_t **ppxIdleTaskStackBuffer,
                                   uint32_t *pulIdleTaskStackSize) {
    *ppxIdleTaskTCBBuffer = &xIdleTaskTCBBuffer;
    *ppxIdleTaskStackBuffer = &xIdleStack[0];
    *pulIdleTaskStackSize = configMINIMAL_STACK_SIZE;
    /* place for user code */
}
/* USER CODE END GET_IDLE_TASK_MEMORY */

/* USER CODE BEGIN Application */
int ScanOutsideFlag, ScanA4Flag;
void ServoControlTask(void const *argument) {
    float servo_pitch_output = 0, servo_yaw_output = 0;
    static float last_servo_pitch_output = 0, last_servo_yaw_output = 0;

    SG90_init();
    setAngle_270(&Servo_yaw, 0);
    setAngle_180(&Servo_pitch, 0);

    osDelay(100);
//
//    setAngle_270(&Servo_yaw, 130);
//    setAngle_180(&Servo_pitch, 130);
//
//    osDelay(100);
//
//    setAngle_270(&Servo_yaw, 0);
//    setAngle_180(&Servo_pitch, 0);
//
//    osDelay(100);
    SG90_scan();
    float t;

    for (;;) {

        if(ScanOutsideFlag == 1){
            SG90_scan();
        }
        ScanOutsideFlag = 0;

        if(ScanA4Flag == 1){
            servo_yaw.Kp = 0.08f;
            servo_yaw.Kd = 1.5f;
            servo_pitch.Kp = -0.11f;
            servo_pitch.Kd = -0.9f;
            servo_pitch.Actual = xyControl[1] / 10;
            servo_yaw.Actual = xyControl[0] / 10;

            servo_pitch.Error = Low_Pass_Filter(&lpf_pitch_error,servo_pitch.Error,0.7f);
            servo_yaw.Error = Low_Pass_Filter(&lpf_yaw_error,servo_yaw.Error,0.7f);

            servo_pitch.Error = Window_Slide_Filter(&slide_pitch_error,servo_pitch.Error);
            servo_yaw.Error = Window_Slide_Filter(&slide_yaw_error,servo_yaw.Error);

            servo_pitch_output = Position_Pid_Calculate(&servo_pitch);
            servo_yaw_output = Position_Pid_Calculate(&servo_yaw);

            servo_pitch_output = Low_Pass_Filter(&lpf_pitch_out,servo_pitch_output,0.7f);
            servo_yaw_output = Low_Pass_Filter(&lpf_yaw_out,servo_yaw_output,0.7f);

            servo_pitch_output = Window_Slide_Filter(&slide_pitch_out,servo_pitch_output);
            servo_yaw_output = Window_Slide_Filter(&slide_yaw_out,servo_yaw_output);

            servo_pitch_output += last_servo_pitch_output;
            servo_yaw_output += last_servo_yaw_output;

            setAngle_180(&Servo_pitch, servo_pitch_output);
            setAngle_270(&Servo_yaw, servo_yaw_output);
            last_servo_pitch_output = servo_pitch_output;
            last_servo_yaw_output = servo_yaw_output;
        }

        osDelay(10);
    }
}

//Global variable, use as Mode Choose flag.
int gMode = NORMALMODE;
void ButtonTask(void const *argument) {
    button_init(&BUTTON_RST, read_KEY1_GPIO, 0);
    button_init(&BUTTON_START, read_KEY2_GPIO, 0);
    button_init(&BUTTON_PAUSE, read_KEY3_GPIO, 0);
    button_attach(&BUTTON_RST, PRESS_DOWN, KEY1_PRESS_DOWN_Handler);
    button_attach(&BUTTON_START, PRESS_DOWN, KEY2_PRESS_DOWN_Handler);
    button_attach(&BUTTON_PAUSE, PRESS_DOWN, KEY3_PRESS_DOWN_Handler);
    button_start(&BUTTON_RST);
    button_start(&BUTTON_START);
    button_start(&BUTTON_PAUSE);

    for (;;) {
        if(HAL_GPIO_ReadPin(KEY4_GPIO_Port, KEY4_Pin) == 0) gMode = NORMALMODE;
        if(HAL_GPIO_ReadPin(KEY4_GPIO_Port, KEY4_Pin) == 1) gMode = DEBUGMODE;
        button_ticks();
        osDelay(pdMS_TO_TICKS(5));
    }
}

void BEEPLEDTask(void const *argument) {
    for (;;) {
        for (int i = 0; i < 6; i++) {
            HAL_GPIO_TogglePin(BEEP_GPIO_Port, BEEP_Pin);
            HAL_GPIO_TogglePin(LED_GPIO_Port, LED_Pin);
            osDelay(100);
        }
        osThreadSuspend(NULL);
    }
}

void ReceiveTask(void const *argument) {
    int i;
    int array_empty_flag1 = 1;

    for (;;) {
        HAL_UART_Receive_DMA(&huart1, &uartBuffer[0], USARTBUFFER);
        for (i = 0; i < USARTBUFFER; i++) {
            if (uartBuffer[i] != 0) {
                array_empty_flag1 = 0;
                break;
            }
        }
        if (array_empty_flag1 == 0) {
            array_empty_flag1 = 1;

            ReformatBuffer(uartBuffer, xyControl);

            memset(uartBuffer, 0, USARTBUFFER);
        }

        osDelay(5);
    }
}
/* USER CODE END Application */
